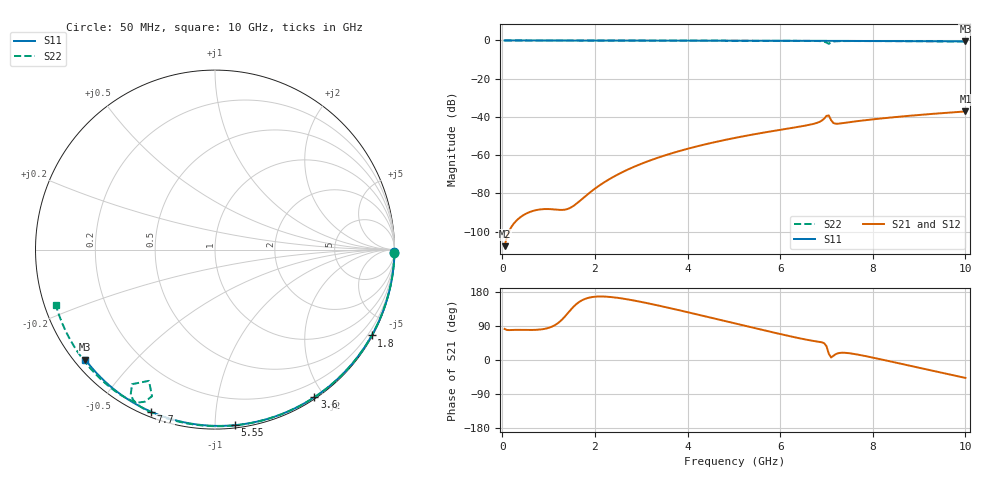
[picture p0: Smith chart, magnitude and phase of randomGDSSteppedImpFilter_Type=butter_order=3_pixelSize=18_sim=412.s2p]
! freq	dB(S11)	phase(S11)	dB(S12)	phase(S12)
!  dB(S21)	phase(S21)	dB(S22)	phase(S22)
!S-par simulation data
#  GHz  S  DB  R 50
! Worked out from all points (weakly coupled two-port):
!   200 points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, 50 MHz to 10 GHz, reference 50 ohm
!   highest |S21| = -37.17 dB at 10 GHz (marker M1); lowest = -107.7 dB at 50 MHz (marker M2)
!   lowest |S11| = -0.5 dB at 10 GHz (marker M3), VSWR 36.95, Z = 1.54 - j18.3 ohm
!   |S11| at or under -10 dB: nowhere
!   |S22| runs from -1.7 to 0.0 dB; largest |S21 - S12| = 0
!   S11 on the Smith chart (normalised r, x): 50 MHz: open; 1.8 GHz: 0.03, -3.91; 3.6 GHz: 0.02, -1.88; 5.55 GHz: 0.02, -1.12; 7.7 GHz: 0.02, -0.68; 10 GHz: 0.03, -0.37
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0.05  -0.00 -0.8  -107.67 82.1  -107.67 82.1  -0.00 -0.9
0.85  -0.02 -13.7  -88.34 80.9  -88.34 80.9  -0.02 -15.7
1.75  -0.04 -27.9  -82.42 159.3  -82.42 159.3  -0.04 -31.9
1.8  -0.04 -28.7  -81.40 161.8  -81.40 161.8  -0.04 -32.8
1.9  -0.04 -30.3  -79.43 165.2  -79.43 165.2  -0.04 -34.6
2.25  -0.05 -35.7  -73.50 167.1  -73.50 167.1  -0.05 -40.8
2.6  -0.05 -41.1  -68.85 162.1  -68.85 162.1  -0.06 -46.9
3.4  -0.07 -53.1  -61.04 142.9  -61.04 142.9  -0.08 -60.5
3.6  -0.08 -56.0  -59.49 137.5  -59.49 137.5  -0.09 -63.9
5.05  -0.12 -76.7  -50.88 95.8  -50.88 95.8  -0.13 -87.3
5.55  -0.14 -83.5  -48.62 81.3  -48.62 81.3  -0.16 -95.2
6.7  -0.19 -98.7  -43.78 50.7  -43.78 50.7  -0.25 -113.6
6.85  -0.20 -100.7  -42.61 47.9  -42.61 47.9  -0.32 -116.9
6.95  -0.21 -102.0  -40.93 44.3  -40.93 44.3  -0.58 -120.2
7  -0.21 -102.6  -39.49 36.4  -39.49 36.4  -1.11 -121.6
7.05  -0.21 -103.2  -39.24 16.5  -39.24 16.5  -1.74 -116.7
7.1  -0.21 -103.9  -41.73 6.7  -41.73 6.7  -1.02 -113.2
7.15  -0.22 -104.5  -43.22 11.0  -43.22 11.0  -0.60 -114.8
7.2  -0.22 -105.1  -43.59 15.4  -43.59 15.4  -0.44 -116.4
7.7  -0.25 -111.5  -42.13 13.7  -42.13 13.7  -0.31 -125.9
8.35  -0.30 -119.5  -40.42 -2.9  -40.42 -2.9  -0.36 -135.8
10  -0.47 -139.7  -37.17 -47.3  -37.17 -47.3  -0.55 -160.7
